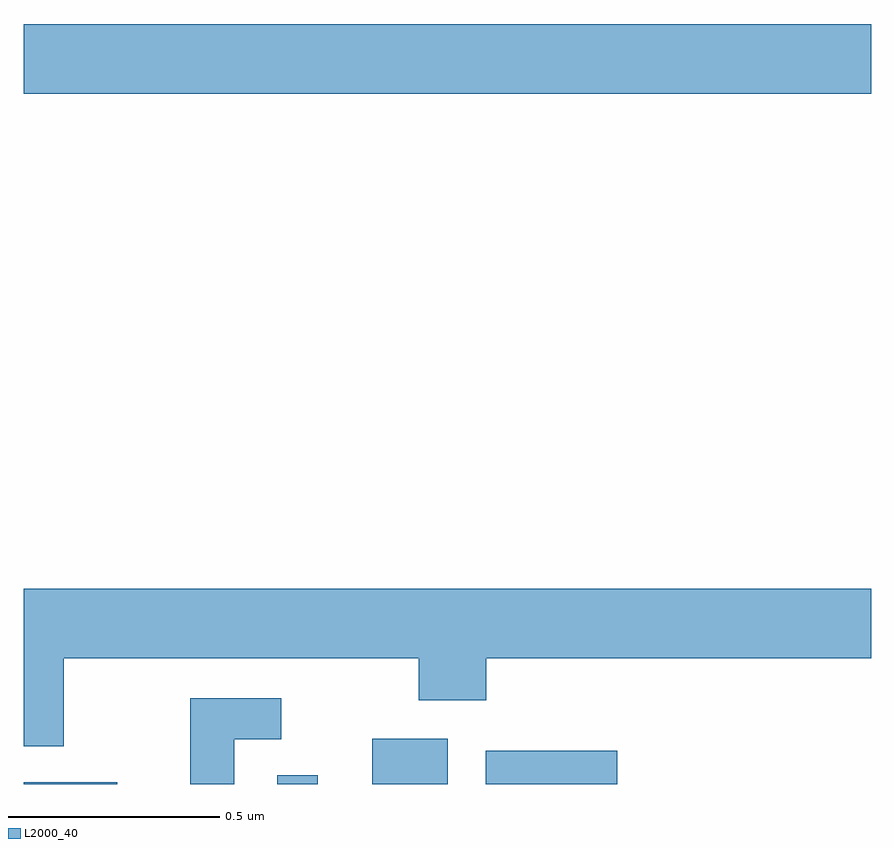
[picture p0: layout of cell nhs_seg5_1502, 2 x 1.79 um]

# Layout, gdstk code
import gdstk
lib = gdstk.Library(unit=1e-6, precision=1e-09)
def R(c, l, rs):  # rectangles x0, y0, x1, y1
    for r in rs: c.add(gdstk.rectangle(r[:2], r[2:], *l))
def P(c, l, *ps):  # polygons
    for p in ps: c.add(gdstk.Polygon(p, *l))
L2000_40 = (2000, 40)

nhs_seg5_1502 = lib.new_cell('nhs_seg5_1502')
R(nhs_seg5_1502, L2000_40, [(131,853.799,131.221,853.803), (131.598,853.799,131.694,853.82), (131.822,853.799,132.001,853.906), (132.09,853.799,132.4,853.878), (131,855.428,133,855.592)])
P(nhs_seg5_1502, L2000_40, [(131.095,854.096),(131.932,854.096),(131.932,853.997),(132.092,853.997),(132.092,854.096),(133,854.096),(133,854.26),(131,854.26),(131,853.888),(131.095,853.888)],
  [(131.497,853.905),(131.608,853.905),(131.608,854.001),(131.393,854.001),(131.393,853.799),(131.497,853.799)])

lib.write_gds('nhs_seg5_1502.gds')
